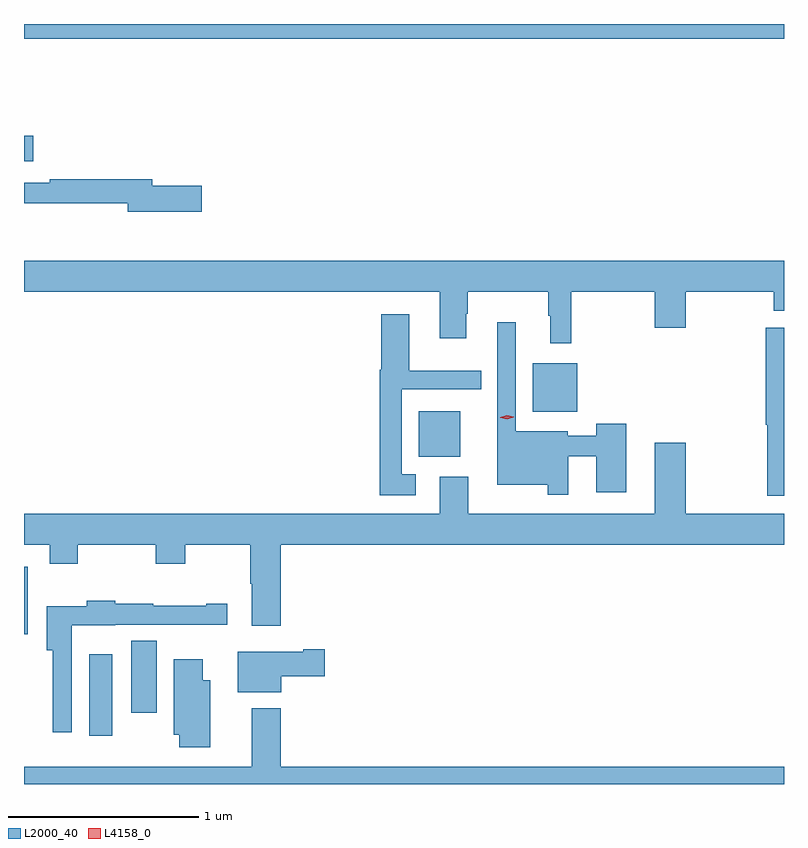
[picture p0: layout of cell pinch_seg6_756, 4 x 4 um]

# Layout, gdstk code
import gdstk
lib = gdstk.Library(unit=1e-6, precision=1e-09)
def R(c, l, rs):  # rectangles x0, y0, x1, y1
    for r in rs: c.add(gdstk.rectangle(r[:2], r[2:], *l))
def P(c, l, *ps):  # polygons
    for p in ps: c.add(gdstk.Polygon(p, *l))
L2000_40 = (2000, 40)
L4158_0 = (4158, 0)

pinch_seg6_756 = lib.new_cell('pinch_seg6_756')
R(pinch_seg6_756, L2000_40, [(329.864,982.296,329.986,982.726), (330.086,982.416,330.22,982.796), (329.521,982.829,329.542,983.185), (331.598,983.765,331.816,984.004), (332.198,984.002,332.434,984.256), (329.521,985.319,329.569,985.454), (329.521,985.964,333.521,986.042)])
P(pinch_seg6_756, L2000_40, [(330.457,985.19),(330.196,985.19),(330.196,985.226),(329.656,985.226),(329.656,985.206),(329.521,985.206),(329.521,985.098),(330.068,985.098),(330.068,985.055),(330.457,985.055)],
  [(332.401,984.632),(332.84,984.632),(332.84,984.444),(333.004,984.444),(333.004,984.632),(333.466,984.632),(333.466,984.533),(333.521,984.533),(333.521,984.796),(329.521,984.796),(329.521,984.632),(331.709,984.632),(331.709,984.387),(331.849,984.387),(331.849,984.518),(331.857,984.518),(331.857,984.632),(332.28,984.632),(332.28,984.506),(332.291,984.506),(332.291,984.363),(332.401,984.363)],
  [(331.582,983.671),(331.509,983.671),(331.509,984.12),(331.928,984.12),(331.928,984.217),(331.549,984.217),(331.549,984.514),(331.4,984.514),(331.4,984.223),(331.393,984.223),(331.393,983.562),(331.582,983.562)],
  [(332.386,983.766),(332.534,983.766),(332.534,983.577),(332.692,983.577),(332.692,983.938),(332.534,983.938),(332.534,983.874),(332.382,983.874),(332.382,983.899),(332.109,983.899),(332.109,984.472),(332.013,984.472),(332.013,983.995),(332.012,983.995),(332.012,983.618),(332.277,983.618),(332.277,983.565),(332.386,983.565)],
  [(333.521,984.444),(333.424,984.444),(333.424,983.932),(333.432,983.932),(333.432,983.558),(333.521,983.558)],
  [(330.872,983.3),(333.521,983.3),(333.521,983.464),(333.004,983.464),(333.004,983.839),(332.84,983.839),(332.84,983.464),(331.858,983.464),(331.858,983.659),(331.709,983.659),(331.709,983.464),(329.521,983.464),(329.521,983.3),(329.657,983.3),(329.657,983.201),(329.805,983.201),(329.805,983.3),(330.214,983.3),(330.214,983.201),(330.369,983.201),(330.369,983.3),(330.712,983.3),(330.712,983.096),(330.719,983.096),(330.719,982.875),(330.872,982.875)],
  [(329.772,982.877),(330,982.877),(330,982.881),(330.316,982.881),(330.316,982.88),(330.592,982.88),(330.592,982.99),(330.479,982.99),(330.479,982.98),(330.2,982.98),(330.2,982.99),(330,982.99),(330,983.007),(329.85,983.007),(329.85,982.978),(329.642,982.978),(329.642,982.745),(329.671,982.745),(329.671,982.314),(329.772,982.314)],
  [(330.874,982.609),(331.105,982.609),(331.105,982.751),(330.992,982.751),(330.992,982.738),(330.647,982.738),(330.647,982.526),(330.874,982.526)],
  [(330.502,982.588),(330.463,982.588),(330.463,982.699),(330.308,982.699),(330.308,982.301),(330.337,982.301),(330.337,982.236),(330.502,982.236)],
  [(333.521,982.132),(330.872,982.132),(330.872,982.441),(330.719,982.441),(330.719,982.132),(329.521,982.132),(329.521,982.042),(333.521,982.042)])
P(pinch_seg6_756, L4158_0, [(332.064,983.962),(332.028,983.97),(332.027,983.971),(332.028,983.971),(332.063,983.982),(332.099,983.974),(332.099,983.974),(332.099,983.973)])

lib.write_gds('pinch_seg6_756.gds')
